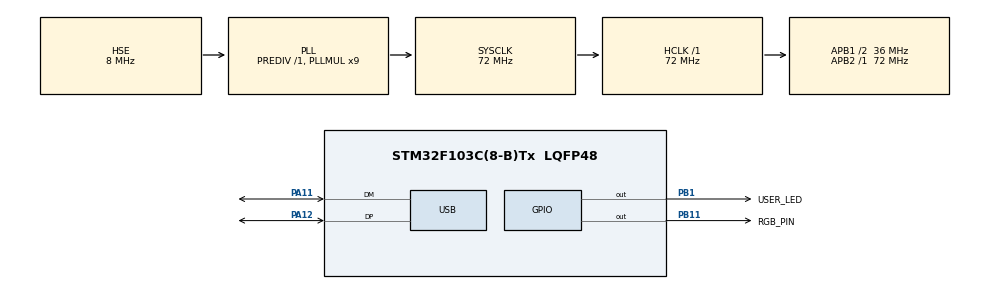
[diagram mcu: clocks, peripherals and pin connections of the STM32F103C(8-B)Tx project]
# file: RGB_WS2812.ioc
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Mcu.Family=STM32F1
Mcu.Name=STM32F103C(8-B)Tx
Mcu.Package=LQFP48
NVIC.PriorityGroup=NVIC_PRIORITYGROUP_4
NVIC.TIM2_IRQn=true\:0\:0\:false\:false\:true\:true\:true\:true
NVIC.USB_LP_CAN1_RX0_IRQn=true\:0\:0\:false\:false\:true\:false\:true\:true
PA11.Mode=Device
PA11.Signal=USB_DM
PA12.Mode=Device
PA12.Signal=USB_DP
PB1.GPIO_Label=USER_LED
PB1.Signal=GPIO_Output
PB11.GPIO_Label=RGB_PIN
PB11.Signal=GPIO_Output
PD0-OSC_IN.Mode=HSE-External-Oscillator
PD0-OSC_IN.Signal=RCC_OSC_IN
PD1-OSC_OUT.Mode=HSE-External-Oscillator
PD1-OSC_OUT.Signal=RCC_OSC_OUT
ProjectManager.HeapSize=0x200
ProjectManager.StackSize=0x400
ProjectManager.TargetToolchain=STM32CubeIDE
RCC.AHBFreq_Value=72000000
RCC.APB1CLKDivider=RCC_HCLK_DIV2
RCC.APB1Freq_Value=36000000
RCC.APB1TimFreq_Value=72000000
RCC.APB2Freq_Value=72000000
RCC.APB2TimFreq_Value=72000000
RCC.HCLKFreq_Value=72000000
RCC.PLLMUL=RCC_PLL_MUL9
RCC.PLLSourceVirtual=RCC_PLLSOURCE_HSE
RCC.SYSCLKFreq_VALUE=72000000
RCC.SYSCLKSource=RCC_SYSCLKSOURCE_PLLCLK
RCC.USBFreq_Value=48000000
RCC.USBPrescaler=RCC_USBCLKSOURCE_PLL_DIV1_5
TIM2.AutoReloadPreload=TIM_AUTORELOAD_PRELOAD_DISABLE
TIM2.Period=10000
TIM2.Prescaler=7200-1
USB_DEVICE.CLASS_NAME_FS=CDC
USB_DEVICE.VirtualMode=Cdc
USB_DEVICE.VirtualModeFS=Cdc_FS
VP_SYS_VS_ND.Mode=No_Debug
VP_TIM2_VS_ClockSourceINT.Mode=Internal
VP_USB_DEVICE_VS_USB_DEVICE_CDC_FS.Mode=CDC_FS
board=custom

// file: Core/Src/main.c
/* USER CODE BEGIN Header */
/**
  ******************************************************************************
  * @file           : main.c
  * @brief          : Main program body
  ******************************************************************************
  * @attention
  *
  * Copyright (c) 2022 STMicroelectronics.
  * All rights reserved.
  *
  * This software is licensed under terms that can be found in the LICENSE file
  * in the root directory of this software component.
  * If no LICENSE file comes with this software, it is provided AS-IS.
  *
  ******************************************************************************
  */
/* USER CODE END Header */
#include "main.h"
#include "usb_device.h"

/* USER CODE BEGIN Includes */
#include "ws2812B_driver_basic.h"
/* USER CODE END Includes */

 TIM_HandleTypeDef htim2;

void SystemClock_Config(void);
static void MX_GPIO_Init(void);
static void MX_TIM2_Init(void);
/* USER CODE BEGIN PFP */
uint8_t non_blocking_task2(void (*task)(int), uint32_t timeout, uint32_t tickCheck, int Parameter);
uint32_t millis(void);
void rgb_blink(int arg);
void rgb_toggle(uint8_t u8LedCount, uint32_t u32Time, ws2812b_basic_colour_t colour);
int colourIndex, ledIndex;
/* USER CODE END PFP */

/* USER CODE BEGIN 0 */
#define  DEBUG_MODE
#define NUMBER_LED      24
const uint8_t colorArray[3] = {128, 52, 128};  /*Red, Green, blue*/
uint32_t tickCount;
uint32_t blinkCheck_blue;
bool rgb_status;
ws2812b_basic_colour_t basic_colour_array[7] = {    WS2812B_COLOUR_RED,
                                                    WS2812B_COLOUR_GREEN,
                                                    WS2812B_COLOUR_BLUE,
                                                    WS2812B_COLOUR_YELLOW,
                                                    WS2812B_COLOUR_MAGENTA,
                                                    WS2812B_COLOUR_CYAN,
                                                    WS2812B_COLOUR_PURPLE
                                               };
/* USER CODE END 0 */

int main(void)
{

  /* MCU Configuration--------------------------------------------------------*/

  /* Reset of all peripherals, Initializes the Flash interface and the Systick. */
  HAL_Init();

  /* Configure the system clock */
  SystemClock_Config();

  /* Initialize all configured peripherals */
  MX_GPIO_Init();
  MX_TIM2_Init();
  MX_USB_DEVICE_Init();
  /* USER CODE BEGIN 2 */
  HAL_TIM_Base_Start_IT(&htim2);

  ws2812b_info_t ws2812bInfo;

  	HAL_Delay(2000); /*wait for drivers to initialize correctly*/

    ws2812b_basic_initialize(NUMBER_LED);
    ws2812b_info(&ws2812bInfo);

  	#ifdef DEBUG_MODE

  	ws2812b_interface_debug_print("chip name: \t%s\n\r", ws2812bInfo.chip_Name);
  	ws2812b_interface_debug_print("Manufacturer: \t%s\n\r", ws2812bInfo.manufacturer_name);
  	ws2812b_interface_debug_print("Interface: \t%s\n\r", ws2812bInfo.interface);
  	ws2812b_interface_debug_print("Supply max voltage: \t%0.2fV\n\r", ws2812bInfo.supply_Voltage_max_V);
  	ws2812b_interface_debug_print("Supply min voltage: \t%0.2fV\n\r", ws2812bInfo.supply_voltage_min_v);
  	ws2812b_interface_debug_print("Temperature Max: \t%.1fC\n\r", ws2812bInfo.temperature_max);
    ws2812b_interface_debug_print("Diver Version: \t\tV%.1f.%.2d\r\n", (ws2812bInfo.driver_version / 1000), (uint8_t)(ws2812bInfo.driver_version - (uint8_t)(ws2812bInfo.driver_version / 100)*100));

  	#endif

  /* USER CODE END 2 */

  /* Infinite loop */
  while (1)
  {

    /* USER CODE BEGIN 3 */
//	  ws2812b_basic_write(3, WS2812b_COLOR_RED);
//	    ws2812b_basic_customized_colour(NUMBER_LED, (uint8_t *)colourArray);                  /**< write custom colour on 24 led */
//rgb_toggle(2, 500,  WS2812B_COLOUR_GREEN);                                            /**< toggle 2 LEDs green*/

	        for(colourIndex = 0; colourIndex < sizeof(basic_colour_array); colourIndex++){
	           for(ledIndex = 1; ledIndex < NUMBER_LED+1; ledIndex++){
	                ws2812b_interface_delay_ms(50);
	                ws2812b_basic_write(ledIndex, basic_colour_array[colourIndex]);              /**< loop through different colours */
	            }
	           ws2812b_interface_delay_ms(50);
	        }
  }
  /* USER CODE END 3 */
}

void SystemClock_Config(void)
{
  RCC_OscInitTypeDef RCC_OscInitStruct = {0};
  RCC_ClkInitTypeDef RCC_ClkInitStruct = {0};
  RCC_PeriphCLKInitTypeDef PeriphClkInit = {0};

  /** Initializes the RCC Oscillators according to the specified parameters
  * in the RCC_OscInitTypeDef structure.
  */
  RCC_OscInitStruct.OscillatorType = RCC_OSCILLATORTYPE_HSE;
  RCC_OscInitStruct.HSEState = RCC_HSE_ON;
  RCC_OscInitStruct.HSEPredivValue = RCC_HSE_PREDIV_DIV1;
  RCC_OscInitStruct.HSIState = RCC_HSI_ON;
  RCC_OscInitStruct.PLL.PLLState = RCC_PLL_ON;
  RCC_OscInitStruct.PLL.PLLSource = RCC_PLLSOURCE_HSE;
  RCC_OscInitStruct.PLL.PLLMUL = RCC_PLL_MUL9;
  if (HAL_RCC_OscConfig(&RCC_OscInitStruct) != HAL_OK)
  {
    Error_Handler();
  }

  /** Initializes the CPU, AHB and APB buses clocks
  */
  RCC_ClkInitStruct.ClockType = RCC_CLOCKTYPE_HCLK|RCC_CLOCKTYPE_SYSCLK
                              |RCC_CLOCKTYPE_PCLK1|RCC_CLOCKTYPE_PCLK2;
  RCC_ClkInitStruct.SYSCLKSource = RCC_SYSCLKSOURCE_PLLCLK;
  RCC_ClkInitStruct.AHBCLKDivider = RCC_SYSCLK_DIV1;
  RCC_ClkInitStruct.APB1CLKDivider = RCC_HCLK_DIV2;
  RCC_ClkInitStruct.APB2CLKDivider = RCC_HCLK_DIV1;

  if (HAL_RCC_ClockConfig(&RCC_ClkInitStruct, FLASH_LATENCY_2) != HAL_OK)
  {
    Error_Handler();
  }
  PeriphClkInit.PeriphClockSelection = RCC_PERIPHCLK_USB;
  PeriphClkInit.UsbClockSelection = RCC_USBCLKSOURCE_PLL_DIV1_5;
  if (HAL_RCCEx_PeriphCLKConfig(&PeriphClkInit) != HAL_OK)
  {
    Error_Handler();
  }
}

static void MX_TIM2_Init(void)
{

  TIM_ClockConfigTypeDef sClockSourceConfig = {0};
  TIM_MasterConfigTypeDef sMasterConfig = {0};

  htim2.Instance = TIM2;
  htim2.Init.Prescaler = 7200-1;
  htim2.Init.CounterMode = TIM_COUNTERMODE_UP;
  htim2.Init.Period = 10000;
  htim2.Init.ClockDivision = TIM_CLOCKDIVISION_DIV1;
  htim2.Init.AutoReloadPreload = TIM_AUTORELOAD_PRELOAD_DISABLE;
  if (HAL_TIM_Base_Init(&htim2) != HAL_OK)
  {
    Error_Handler();
  }
  sClockSourceConfig.ClockSource = TIM_CLOCKSOURCE_INTERNAL;
  if (HAL_TIM_ConfigClockSource(&htim2, &sClockSourceConfig) != HAL_OK)
  {
    Error_Handler();
  }
  sMasterConfig.MasterOutputTrigger = TIM_TRGO_RESET;
  sMasterConfig.MasterSlaveMode = TIM_MASTERSLAVEMODE_DISABLE;
  if (HAL_TIMEx_MasterConfigSynchronization(&htim2, &sMasterConfig) != HAL_OK)
  {
    Error_Handler();
  }

}

static void MX_GPIO_Init(void)
{
  GPIO_InitTypeDef GPIO_InitStruct = {0};

  /* GPIO Ports Clock Enable */
  __HAL_RCC_GPIOD_CLK_ENABLE();
  __HAL_RCC_GPIOB_CLK_ENABLE();
  __HAL_RCC_GPIOA_CLK_ENABLE();

  /*Configure GPIO pin Output Level */
  HAL_GPIO_WritePin(GPIOB, USER_LED_Pin|RGB_PIN_Pin, GPIO_PIN_RESET);

  /*Configure GPIO pins : USER_LED_Pin RGB_PIN_Pin */
  GPIO_InitStruct.Pin = USER_LED_Pin|RGB_PIN_Pin;
  GPIO_InitStruct.Mode = GPIO_MODE_OUTPUT_PP;
  GPIO_InitStruct.Pull = GPIO_NOPULL;
  GPIO_InitStruct.Speed = GPIO_SPEED_FREQ_LOW;
  HAL_GPIO_Init(GPIOB, &GPIO_InitStruct);

}

/* USER CODE BEGIN 4 */

void HAL_TIM_PeriodElapsedCallback(TIM_HandleTypeDef *htim){

	if(htim->Instance == TIM2){
		tickCount++;
	}

}

uint32_t millis(void){
	return tickCount;
}

/**
 * @brief     Non blocking task callback funct
 * @param[in] *task point to the task function callback
 * @param[in] timeout is time interval to run task routine
 * @param[in] tickCheck is the time track for system tick expiry time
 * @return    status code
 *            - 0 delay success
 *            - 1 delay failed
 * @note      none
 */
uint8_t non_blocking_task2(void (*task)(int), uint32_t timeout, uint32_t tickCheck, int Parameter) {
    volatile bool statusComplete = false;
    if ((millis() - tickCheck) > (timeout)) {
        (*task)(Parameter);
        statusComplete = true;
    }
    return 0;
}

void rgb_blink(int arg){

    if (rgb_status)
        ws2812b_basic_write(1, WS2812B_COLOUR_CLEAR);
    else
        ws2812b_basic_write(1, arg);

    rgb_status = !rgb_status;
	blinkCheck_blue = millis();
}

void rgb_toggle(uint8_t u8LedCount, uint32_t u32Time, ws2812b_basic_colour_t colour)
{
    ws2812b_basic_write(u8LedCount, colour);
    ws2812b_interface_delay_ms(u32Time);
    ws2812b_basic_clear(1);
    ws2812b_interface_delay_ms(u32Time);
}
/* USER CODE END 4 */

void Error_Handler(void)
{
  __disable_irq();
  while (1)
  {
  }
}
